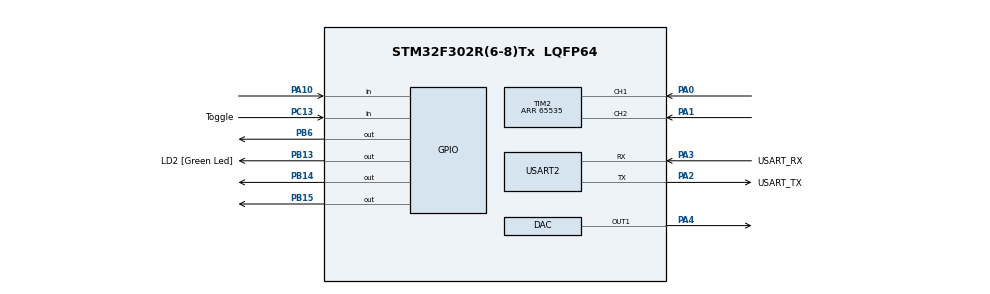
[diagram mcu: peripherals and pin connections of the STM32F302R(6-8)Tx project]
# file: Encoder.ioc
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DAC.DAC_Trigger=DAC_TRIGGER_T15_TRGO
Dma.DAC_CH1.0.Direction=DMA_MEMORY_TO_PERIPH
Dma.DAC_CH1.0.Instance=DMA1_Channel3
Dma.DAC_CH1.0.MemDataAlignment=DMA_MDATAALIGN_WORD
Dma.DAC_CH1.0.MemInc=DMA_MINC_ENABLE
Dma.DAC_CH1.0.Mode=DMA_CIRCULAR
Dma.DAC_CH1.0.PeriphDataAlignment=DMA_PDATAALIGN_WORD
Dma.DAC_CH1.0.PeriphInc=DMA_PINC_DISABLE
Dma.DAC_CH1.0.Priority=DMA_PRIORITY_LOW
Dma.Request0=DAC_CH1
Mcu.Family=STM32F3
Mcu.Name=STM32F302R(6-8)Tx
Mcu.Package=LQFP64
NVIC.DMA1_Channel3_IRQn=true\:0\:0\:false\:false\:true\:false\:true\:true
NVIC.PriorityGroup=NVIC_PRIORITYGROUP_0
NVIC.TIM1_BRK_TIM15_IRQn=true\:0\:0\:false\:false\:true\:true\:true\:true
NVIC.TIM2_IRQn=true\:0\:0\:false\:false\:true\:true\:true\:true
PA0.Signal=S_TIM2_CH1_ETR
PA1.Signal=S_TIM2_CH2
PA10.Signal=GPIO_Input
PA13.GPIO_Label=TMS
PA13.Mode=Serial_Wire
PA13.Signal=SYS_JTMS-SWDIO
PA14.GPIO_Label=TCK
PA14.Mode=Serial_Wire
PA14.Signal=SYS_JTCK-SWCLK
PA2.GPIO_Label=USART_TX
PA2.GPIO_Mode=GPIO_MODE_AF_PP
PA2.GPIO_PuPd=GPIO_NOPULL
PA2.GPIO_Speed=GPIO_SPEED_FREQ_LOW
PA2.Mode=Asynchronous
PA2.Signal=USART2_TX
PA3.GPIO_Label=USART_RX
PA3.GPIO_Mode=GPIO_MODE_AF_PP
PA3.GPIO_PuPd=GPIO_NOPULL
PA3.GPIO_Speed=GPIO_SPEED_FREQ_LOW
PA3.Mode=Asynchronous
PA3.Signal=USART2_RX
PA4.Signal=COMP_DAC1_group
PB13.GPIO_Label=LD2 [Green Led]
PB13.Signal=GPIO_Output
PB14.Signal=GPIO_Output
PB15.Signal=GPIO_Output
PB3.GPIO_Label=SWO
PB3.Mode=Trace_Asynchronous_SW
PB3.Signal=SYS_JTDO-TRACESWO
PB6.Signal=GPIO_Output
PC13.GPIO_Label=Toggle
PC13.GPIO_PuPd=GPIO_PULLUP
PC13.Signal=GPIO_Input
PC14\ -\ OSC32_IN.Signal=RCC_OSC32_IN
PC15\ -\ OSC32_OUT.Signal=RCC_OSC32_OUT
PF0-OSC_IN.Mode=HSE-External-Oscillator
PF0-OSC_IN.Signal=RCC_OSC_IN
PF1-OSC_OUT.Mode=HSE-External-Oscillator
PF1-OSC_OUT.Signal=RCC_OSC_OUT
ProjectManager.HeapSize=0x200
ProjectManager.StackSize=0x400
ProjectManager.TargetToolchain=STM32CubeIDE
RCC.AHBFreq_Value=72000000
RCC.APB1CLKDivider=RCC_HCLK_DIV2
RCC.APB1Freq_Value=36000000
RCC.APB1TimFreq_Value=72000000
RCC.APB2Freq_Value=72000000
RCC.APB2TimFreq_Value=72000000
RCC.CortexFreq_Value=72000000
RCC.HCLKFreq_Value=72000000
RCC.HSE_VALUE=8000000
RCC.HSI_VALUE=8000000
RCC.LSE_VALUE=32768
RCC.PLLM=8
RCC.PLLMUL=RCC_PLL_MUL9
RCC.PLLN=336
RCC.PLLP=RCC_PLLP_DIV4
RCC.PLLQ=7
RCC.PLLSourceVirtual=RCC_PLLSOURCE_HSE
RCC.SYSCLKFreq_VALUE=72000000
RCC.SYSCLKSourceVirtual=RCC_SYSCLKSOURCE_PLLCLK
RCC.USBFreq_Value=72000000
SH.COMP_DAC1_group.0=DAC_OUT1,DAC_OUT1
SH.S_TIM2_CH1_ETR.0=TIM2_CH1,Encoder_Interface
SH.S_TIM2_CH2.0=TIM2_CH2,Encoder_Interface
TIM15.Period=100
TIM15.Prescaler=72-1
TIM15.TIM_MasterOutputTrigger=TIM_TRGO_UPDATE
TIM2.EncoderMode=TIM_ENCODERMODE_TI12
TIM2.IC1Polarity=TIM_ICPOLARITY_FALLING
TIM2.IC2Polarity=TIM_ICPOLARITY_FALLING
TIM2.Period=65535
USART2.VirtualMode-Asynchronous=VM_ASYNC
VP_TIM15_VS_ClockSourceINT.Mode=Internal
board=NUCLEO-F302R8

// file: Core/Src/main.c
/* USER CODE BEGIN Header */
/**
 ******************************************************************************
 * @file           : main.c
 * @brief          : Main program body
 ******************************************************************************
 * @attention
 *
 * Copyright (c) 2023 STMicroelectronics.
 * All rights reserved.
 *
 * This software is licensed under terms that can be found in the LICENSE file
 * in the root directory of this software component.
 * If no LICENSE file comes with this software, it is provided AS-IS.
 *
 ******************************************************************************
 */
/* USER CODE END Header */
#include "main.h"
#include<math.h>
#include<stdio.h>
#include<string.h>
#include "max_matrix_stm32.h"

DAC_HandleTypeDef hdac;
DMA_HandleTypeDef hdma_dac_ch1;

TIM_HandleTypeDef htim2;
TIM_HandleTypeDef htim15;

UART_HandleTypeDef huart2;

/* USER CODE BEGIN PV */
uint32_t VALOR_ADC;
char val[10];
int matris_on[8][8];
int wave = 0;

/* USER CODE END PV */

void SystemClock_Config(void);
static void MX_GPIO_Init(void);
static void MX_DMA_Init(void);
static void MX_USART2_UART_Init(void);
static void MX_TIM2_Init(void);
static void MX_DAC_Init(void);
static void MX_TIM15_Init(void);

/* USER CODE BEGIN 0 */
int16_t contador = 0;
int16_t incremento = 1;
uint16_t sine_vall[100];
int16_t sine_val;
uint32_t counter = 0;
int16_t count = 0;
int16_t Position_time = 0;
int16_t Position_volt = 0;
uint8_t raw = 0;
uint8_t toggle_flag = 0; // Inicialmente en Position_volt
void button() {

	if (HAL_GPIO_ReadPin(Toggle_GPIO_Port, Toggle_Pin)) { // Comprobar si el botón está pulsado
		HAL_GPIO_TogglePin(LD2_GPIO_Port, LD2_Pin);
		HAL_Delay(10);
	}
}
void HAL_TIM_IC_CaptureCallback(TIM_HandleTypeDef *htim) {
	counter = __HAL_TIM_GET_COUNTER(htim);

	count = (int16_t) counter;
	if (toggle_flag == 0) {
		Position_volt = count / 4;
	} else {
		Position_time = count / 4;
	}

	button(); // Llamar a la función para manejar el botón
}
void HAL_TIM_PeriodElapsedCallback(TIM_HandleTypeDef *htim) {
	if (htim->Instance == TIM15) {
		// Realizar las operaciones necesarias

		//HAL_GPIO_TogglePin(GPIOB, GPIO_PIN_13);

		/*   contador += incremento;
		 if (contador >= 9) {
		 contador = 9;
		 incremento = -1;
		 } else if (contador <= -9) {
		 contador = -9;
		 incremento = 1;
		 }*/

		// sine_val = contador;
		if (contador == 0) {

			contador = 9;

		} else if (contador == 9) {

			contador = 0;

		}
		sine_val = contador;
	}
}

void calcsin() {
	/*for (int i = 0; i < 100; i++) {
	 int index = i % 100; // Obtener el índice correspondiente utilizando el operador módulo
	 sine_vall[index] = (uint32_t) ((sin(i * 2 * M_PI / 100) * (4096 / 2))
	 + (4096 / 2));
	 //sine_val[i] = ((sin(i * 2 * M_PI / 100) + 1) * (4096 / 2));

	 }

	 for (int i = 0; i < 100; i++) {
	 int index = i % 100; // Obtener el índice correspondiente utilizando el operador módulo
	 sine_val = (int16_t) sine_vall[index];
	 // Realizar alguna operación con sine_val si es necesario

	 }*/
	/*int incremento = 1;

	 while (1) {
	 // Realizar las operaciones necesarias

	 contador += incremento;
	 if (contador >= 4000) {
	 contador = 4000;
	 incremento = -1;
	 } else if (contador <= -4000) {
	 contador = -4000;
	 incremento = 1;
	 }

	 sine_val = contador;
	 }
	 */
}
/* USER CODE END 0 */

int main(void) {
	/* USER CODE BEGIN 1 */
	//GPIO_PinState estpul;
//	bool ctrl = false;
	/* USER CODE END 1 */

	/* MCU Configuration--------------------------------------------------------*/

	/* Reset of all peripherals, Initializes the Flash interface and the Systick. */
	HAL_Init();

	/* Configure the system clock */
	SystemClock_Config();

	/* Initialize all configured peripherals */
	MX_GPIO_Init();
	MX_DMA_Init();
	MX_USART2_UART_Init();
	MX_TIM2_Init();
	MX_DAC_Init();
	MX_TIM15_Init();
	/* USER CODE BEGIN 2 */
	max_init(0x02);
	//HAL_TIM_Base_Start_IT(&htim1);
	HAL_TIM_Base_Start_IT(&htim15);
	HAL_TIM_Encoder_Start_IT(&htim2, TIM_CHANNEL_ALL);
	HAL_TIM_Base_Start(&htim15);
	calcsin();
	button();
	HAL_DAC_Start_DMA(&hdac, DAC_CHANNEL_1, (uint32_t*) sine_vall, 100,
			DAC_ALIGN_12B_R);
//write_char(65, 1);
	/* USER CODE END 2 */

	/* Infinite loop */
	/* USER CODE BEGIN WHILE */
	while (1) {
		button();
		{
			sprintf(val, "%u\n", count);
			uint8_t len = strlen(val);
			HAL_UART_Transmit(&huart2, (uint8_t*) val, len, 100);

			if (count >= 250 && count <= 720) {

				matris_on[0][wave] = 1;
			}

			else {

				matris_on[0][wave] = 0;
			}
			if (count >= 720 && count <= 1260) {

				matris_on[1][wave] = 1;
			}

			else {

				matris_on[1][wave] = 0;
			}
			if (count >= 1260 && count <= 1780) {

				matris_on[2][wave] = 1;
			}

			else {

				matris_on[2][wave] = 0;
			}
			if (count >= 1780 && count <= 2280) {

				matris_on[3][wave] = 1;
			}

			else {

				matris_on[3][wave] = 0;
			}
			if (count >= 2280 && count <= 2780) {

				matris_on[4][wave] = 1;
			}

			else {

				matris_on[4][wave] = 0;
			}
			if (count >= 2780 && count <= 3280) {

				matris_on[5][wave] = 1;
			}

			else {

				matris_on[5][wave] = 0;
			}
			if (count >= 3280 && count <= 3780) {

				matris_on[6][wave] = 1;
			}

			else {

				matris_on[6][wave] = 0;
			}
			if (count >= 3780 && count <= 4000) {

				matris_on[7][wave] = 1;
			}

			else {

				matris_on[7][wave] = 0;
			}

			for (int z = 0; z < 8; z++) {

				for (int i = 0; i < 8; i++) {

					if (matris_on[i][z] == 1) {

						setled(i, z, 1);

					} else {
						setled(i, z, 0);

					}

				}
			}

			wave++;
			HAL_Delay(30);
			if (wave > 7) {

				wave = 0;

			}

			/*sprintf(val, "%u\n", sine_val);
			 uint8_t len = strlen(val);
			 HAL_UART_Transmit(&huart2, (uint8_t*) val, len, 100);

			 if (sine_val >= 6 && sine_val <= 9) {

			 matris_on[0][wave] = 0;
			 }

			 else {

			 matris_on[0][wave] = 0;
			 }
			 if (Position_volt == 12 && sine_val >= 7 && sine_val <= 9) {

			 matris_on[1][wave] = 1;
			 }

			 else {

			 matris_on[1][wave] = 0;
			 }
			 if (Position_volt == 8 && sine_val >= 4 && sine_val <= 9) {

			 matris_on[2][wave] = 1;
			 }

			 else {

			 matris_on[2][wave] = 0;
			 }
			 if (Position_volt == 4 && sine_val >= 1 && sine_val <= 9) {

			 matris_on[3][wave] = 1;

			 }

			 else {

			 matris_on[3][wave] = 0;
			 }
			 if (sine_val == 0) {

			 matris_on[4][wave] = 1;
			 }

			 else {

			 matris_on[4][wave] = 0;
			 }
			 if (sine_val <= -1 && sine_val >= -2) {

			 matris_on[5][wave] = 1;
			 }

			 else {

			 matris_on[5][wave] = 0;
			 }
			 if (sine_val <= -3 && sine_val >= -6) {

			 matris_on[6][wave] = 1;
			 }

			 else {

			 matris_on[6][wave] = 0;
			 }
			 if (sine_val <= -7 && sine_val >= -9) {

			 matris_on[7][wave] = 1;
			 }

			 else {

			 matris_on[7][wave] = 0;
			 }

			 for (int z = 0; z < 8; z++) {

			 for (int i = 0; i < 8; i++) {

			 if (matris_on[i][z] == 1) {

			 setled(i, z, 1);

			 } else {
			 setled(i, z, 0);

			 }

			 }
			 }

			 wave++;
			 HAL_Delay(30);
			 if (wave > 7) {

			 wave = 0;

			 }*/

			/* USER CODE END WHILE */

		}
	}
}

	/**
	 * @brief System Clock Configuration
	 * @retval None
	 */
	void SystemClock_Config(void) {
		RCC_OscInitTypeDef RCC_OscInitStruct = { 0 };
		RCC_ClkInitTypeDef RCC_ClkInitStruct = { 0 };
		RCC_PeriphCLKInitTypeDef PeriphClkInit = { 0 };

		/** Initializes the RCC Oscillators according to the specified parameters
		 * in the RCC_OscInitTypeDef structure.
		 */
		RCC_OscInitStruct.OscillatorType = RCC_OSCILLATORTYPE_HSE;
		RCC_OscInitStruct.HSEState = RCC_HSE_ON;
		RCC_OscInitStruct.HSEPredivValue = RCC_HSE_PREDIV_DIV1;
		RCC_OscInitStruct.HSIState = RCC_HSI_ON;
		RCC_OscInitStruct.PLL.PLLState = RCC_PLL_ON;
		RCC_OscInitStruct.PLL.PLLSource = RCC_PLLSOURCE_HSE;
		RCC_OscInitStruct.PLL.PLLMUL = RCC_PLL_MUL9;
		if (HAL_RCC_OscConfig(&RCC_OscInitStruct) != HAL_OK) {
			Error_Handler();
		}

		/** Initializes the CPU, AHB and APB buses clocks
		 */
		RCC_ClkInitStruct.ClockType = RCC_CLOCKTYPE_HCLK | RCC_CLOCKTYPE_SYSCLK
				| RCC_CLOCKTYPE_PCLK1 | RCC_CLOCKTYPE_PCLK2;
		RCC_ClkInitStruct.SYSCLKSource = RCC_SYSCLKSOURCE_PLLCLK;
		RCC_ClkInitStruct.AHBCLKDivider = RCC_SYSCLK_DIV1;
		RCC_ClkInitStruct.APB1CLKDivider = RCC_HCLK_DIV2;
		RCC_ClkInitStruct.APB2CLKDivider = RCC_HCLK_DIV1;

		if (HAL_RCC_ClockConfig(&RCC_ClkInitStruct, FLASH_LATENCY_2)
				!= HAL_OK) {
			Error_Handler();
		}
		PeriphClkInit.PeriphClockSelection = RCC_PERIPHCLK_TIM15;
		PeriphClkInit.Tim15ClockSelection = RCC_TIM15CLK_HCLK;
		if (HAL_RCCEx_PeriphCLKConfig(&PeriphClkInit) != HAL_OK) {
			Error_Handler();
		}
	}

	/**
	 * @brief DAC Initialization Function
	 * @param None
	 * @retval None
	 */
	static void MX_DAC_Init(void) {

		DAC_ChannelConfTypeDef sConfig = { 0 };

		/** DAC Initialization
		 */
		hdac.Instance = DAC;
		if (HAL_DAC_Init(&hdac) != HAL_OK) {
			Error_Handler();
		}

		/** DAC channel OUT1 config
		 */
		sConfig.DAC_Trigger = DAC_TRIGGER_T15_TRGO;
		sConfig.DAC_OutputBuffer = DAC_OUTPUTBUFFER_ENABLE;
		if (HAL_DAC_ConfigChannel(&hdac, &sConfig, DAC_CHANNEL_1) != HAL_OK) {
			Error_Handler();
		}

	}

	/**
	 * @brief TIM2 Initialization Function
	 * @param None
	 * @retval None
	 */
	static void MX_TIM2_Init(void) {

		TIM_Encoder_InitTypeDef sConfig = { 0 };
		TIM_MasterConfigTypeDef sMasterConfig = { 0 };

		htim2.Instance = TIM2;
		htim2.Init.Prescaler = 0;
		htim2.Init.CounterMode = TIM_COUNTERMODE_UP;
		htim2.Init.Period = 65535;
		htim2.Init.ClockDivision = TIM_CLOCKDIVISION_DIV1;
		htim2.Init.AutoReloadPreload = TIM_AUTORELOAD_PRELOAD_DISABLE;
		sConfig.EncoderMode = TIM_ENCODERMODE_TI12;
		sConfig.IC1Polarity = TIM_ICPOLARITY_FALLING;
		sConfig.IC1Selection = TIM_ICSELECTION_DIRECTTI;
		sConfig.IC1Prescaler = TIM_ICPSC_DIV1;
		sConfig.IC1Filter = 0;
		sConfig.IC2Polarity = TIM_ICPOLARITY_FALLING;
		sConfig.IC2Selection = TIM_ICSELECTION_DIRECTTI;
		sConfig.IC2Prescaler = TIM_ICPSC_DIV1;
		sConfig.IC2Filter = 0;
		if (HAL_TIM_Encoder_Init(&htim2, &sConfig) != HAL_OK) {
			Error_Handler();
		}
		sMasterConfig.MasterOutputTrigger = TIM_TRGO_RESET;
		sMasterConfig.MasterSlaveMode = TIM_MASTERSLAVEMODE_DISABLE;
		if (HAL_TIMEx_MasterConfigSynchronization(&htim2, &sMasterConfig)
				!= HAL_OK) {
			Error_Handler();
		}

	}

	/**
	 * @brief TIM15 Initialization Function
	 * @param None
	 * @retval None
	 */
	static void MX_TIM15_Init(void) {

		TIM_ClockConfigTypeDef sClockSourceConfig = { 0 };
		TIM_MasterConfigTypeDef sMasterConfig = { 0 };

		htim15.Instance = TIM15;
		htim15.Init.Prescaler = 72 - 1;
		htim15.Init.CounterMode = TIM_COUNTERMODE_UP;
		htim15.Init.Period = 100;
		htim15.Init.ClockDivision = TIM_CLOCKDIVISION_DIV1;
		htim15.Init.RepetitionCounter = 0;
		htim15.Init.AutoReloadPreload = TIM_AUTORELOAD_PRELOAD_DISABLE;
		if (HAL_TIM_Base_Init(&htim15) != HAL_OK) {
			Error_Handler();
		}
		sClockSourceConfig.ClockSource = TIM_CLOCKSOURCE_INTERNAL;
		if (HAL_TIM_ConfigClockSource(&htim15, &sClockSourceConfig) != HAL_OK) {
			Error_Handler();
		}
		sMasterConfig.MasterOutputTrigger = TIM_TRGO_UPDATE;
		sMasterConfig.MasterSlaveMode = TIM_MASTERSLAVEMODE_DISABLE;
		if (HAL_TIMEx_MasterConfigSynchronization(&htim15, &sMasterConfig)
				!= HAL_OK) {
			Error_Handler();
		}

	}

	/**
	 * @brief USART2 Initialization Function
	 * @param None
	 * @retval None
	 */
	static void MX_USART2_UART_Init(void) {

		huart2.Instance = USART2;
		huart2.Init.BaudRate = 38400;
		huart2.Init.WordLength = UART_WORDLENGTH_8B;
		huart2.Init.StopBits = UART_STOPBITS_1;
		huart2.Init.Parity = UART_PARITY_NONE;
		huart2.Init.Mode = UART_MODE_TX_RX;
		huart2.Init.HwFlowCtl = UART_HWCONTROL_NONE;
		huart2.Init.OverSampling = UART_OVERSAMPLING_16;
		huart2.Init.OneBitSampling = UART_ONE_BIT_SAMPLE_DISABLE;
		huart2.AdvancedInit.AdvFeatureInit = UART_ADVFEATURE_NO_INIT;
		if (HAL_UART_Init(&huart2) != HAL_OK) {
			Error_Handler();
		}

	}

	/**
	 * Enable DMA controller clock
	 */
	static void MX_DMA_Init(void) {

		/* DMA controller clock enable */
		__HAL_RCC_DMA1_CLK_ENABLE();

		/* DMA interrupt init */
		/* DMA1_Channel3_IRQn interrupt configuration */
		HAL_NVIC_SetPriority(DMA1_Channel3_IRQn, 0, 0);
		HAL_NVIC_EnableIRQ(DMA1_Channel3_IRQn);

	}

	/**
	 * @brief GPIO Initialization Function
	 * @param None
	 * @retval None
	 */
	static void MX_GPIO_Init(void) {
		GPIO_InitTypeDef GPIO_InitStruct = { 0 };

		/* GPIO Ports Clock Enable */
		__HAL_RCC_GPIOC_CLK_ENABLE();
		__HAL_RCC_GPIOF_CLK_ENABLE();
		__HAL_RCC_GPIOA_CLK_ENABLE();
		__HAL_RCC_GPIOB_CLK_ENABLE();

		/*Configure GPIO pin Output Level */
		HAL_GPIO_WritePin(GPIOB,
				LD2_Pin | GPIO_PIN_14 | GPIO_PIN_15 | GPIO_PIN_6,
				GPIO_PIN_RESET);

		/*Configure GPIO pin : Toggle_Pin */
		GPIO_InitStruct.Pin = Toggle_Pin;
		GPIO_InitStruct.Mode = GPIO_MODE_INPUT;
		GPIO_InitStruct.Pull = GPIO_PULLUP;
		HAL_GPIO_Init(Toggle_GPIO_Port, &GPIO_InitStruct);

		/*Configure GPIO pins : LD2_Pin PB14 PB15 PB6 */
		GPIO_InitStruct.Pin = LD2_Pin | GPIO_PIN_14 | GPIO_PIN_15 | GPIO_PIN_6;
		GPIO_InitStruct.Mode = GPIO_MODE_OUTPUT_PP;
		GPIO_InitStruct.Pull = GPIO_NOPULL;
		GPIO_InitStruct.Speed = GPIO_SPEED_FREQ_LOW;
		HAL_GPIO_Init(GPIOB, &GPIO_InitStruct);

		/*Configure GPIO pin : PA10 */
		GPIO_InitStruct.Pin = GPIO_PIN_10;
		GPIO_InitStruct.Mode = GPIO_MODE_INPUT;
		GPIO_InitStruct.Pull = GPIO_NOPULL;
		HAL_GPIO_Init(GPIOA, &GPIO_InitStruct);

	}

	/**
	 * @brief  This function is executed in case of error occurrence.
	 * @retval None
	 */
	void Error_Handler(void) {
		__disable_irq();
		while (1) {
		}
	}
